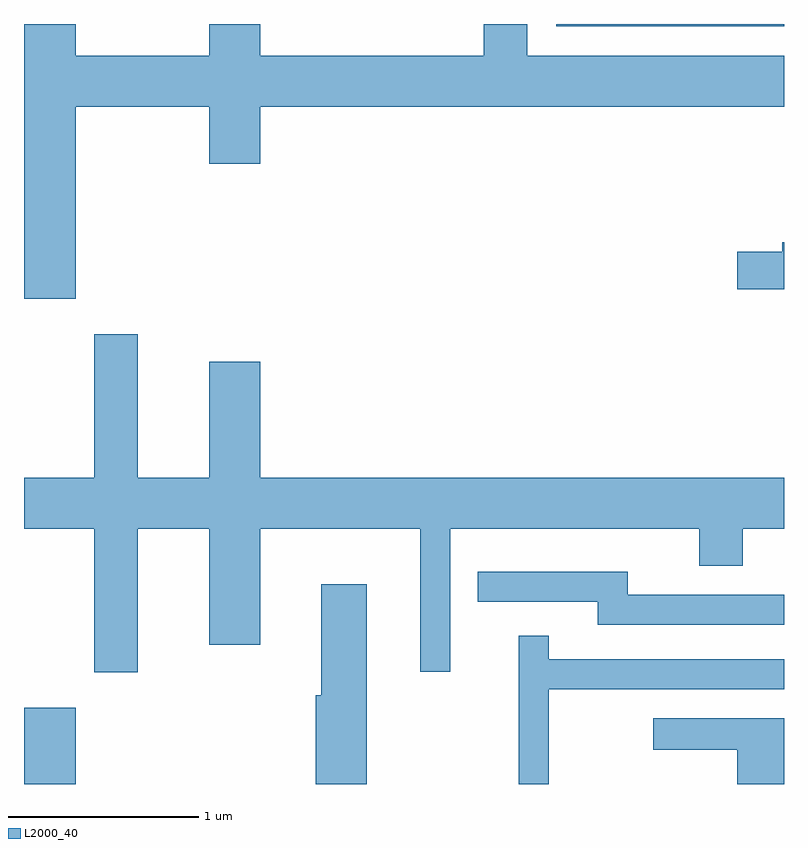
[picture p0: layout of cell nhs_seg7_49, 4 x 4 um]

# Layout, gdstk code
import gdstk
lib = gdstk.Library(unit=1e-6, precision=1e-09)
def R(c, l, rs):  # rectangles x0, y0, x1, y1
    for r in rs: c.add(gdstk.rectangle(r[:2], r[2:], *l))
def P(c, l, *ps):  # polygons
    for p in ps: c.add(gdstk.Polygon(p, *l))
L2000_40 = (2000, 40)

nhs_seg7_49 = lib.new_cell('nhs_seg7_49')
R(nhs_seg7_49, L2000_40, [(185.611,1766.252,185.884,1766.654), (188.411,1770.241,189.611,1770.252)])
P(nhs_seg7_49, L2000_40, [(185.884,1769.816),(186.586,1769.816),(186.586,1769.516),(186.854,1769.516),(186.854,1769.816),(189.611,1769.816),(189.611,1770.084),(188.259,1770.084),(188.259,1770.252),(188.031,1770.252),(188.031,1770.084),(186.854,1770.084),(186.854,1770.252),(186.586,1770.252),(186.586,1770.084),(185.884,1770.084),(185.884,1770.252),(185.611,1770.252),(185.611,1768.806),(185.884,1768.806)],
  [(189.611,1769.104),(189.601,1769.104),(189.601,1769.054),(189.366,1769.054),(189.366,1768.856),(189.611,1768.856)],
  [(186.209,1767.596),(186.586,1767.596),(186.586,1766.986),(186.854,1766.986),(186.854,1767.596),(187.696,1767.596),(187.696,1766.843),(187.854,1766.843),(187.854,1767.596),(189.166,1767.596),(189.166,1767.401),(189.394,1767.401),(189.394,1767.596),(189.611,1767.596),(189.611,1767.864),(186.854,1767.864),(186.854,1768.474),(186.586,1768.474),(186.586,1767.864),(186.209,1767.864),(186.209,1768.619),(185.981,1768.619),(185.981,1767.864),(185.611,1767.864),(185.611,1767.596),(185.981,1767.596),(185.981,1766.841),(186.209,1766.841)],
  [(189.611,1767.249),(188.789,1767.249),(188.789,1767.369),(187.998,1767.369),(187.998,1767.211),(188.631,1767.211),(188.631,1767.091),(189.611,1767.091)],
  [(187.414,1767.304),(187.176,1767.304),(187.176,1766.719),(187.146,1766.719),(187.146,1766.252),(187.414,1766.252)],
  [(188.374,1766.751),(189.611,1766.751),(189.611,1766.909),(188.374,1766.909),(188.374,1767.033),(188.216,1767.033),(188.216,1766.252),(188.374,1766.252)],
  [(189.611,1766.599),(188.923,1766.599),(188.923,1766.431),(189.366,1766.431),(189.366,1766.252),(189.611,1766.252)])

lib.write_gds('nhs_seg7_49.gds')
